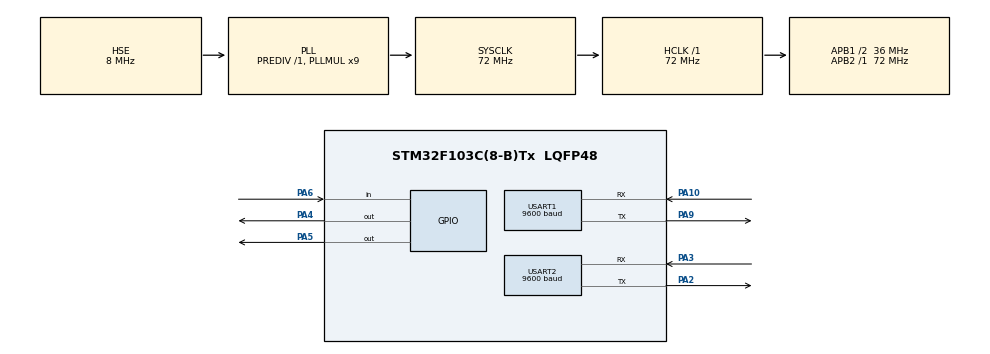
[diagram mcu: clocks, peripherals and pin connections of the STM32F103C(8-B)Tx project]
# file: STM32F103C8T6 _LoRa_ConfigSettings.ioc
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Mcu.Family=STM32F1
Mcu.Name=STM32F103C(8-B)Tx
Mcu.Package=LQFP48
NVIC.PriorityGroup=NVIC_PRIORITYGROUP_4
PA10.Mode=Asynchronous
PA10.Signal=USART1_RX
PA13.Mode=Serial_Wire
PA13.Signal=SYS_JTMS-SWDIO
PA14.Mode=Serial_Wire
PA14.Signal=SYS_JTCK-SWCLK
PA2.Mode=Asynchronous
PA2.Signal=USART2_TX
PA3.Mode=Asynchronous
PA3.Signal=USART2_RX
PA4.Signal=GPIO_Output
PA5.Signal=GPIO_Output
PA6.Signal=GPIO_Input
PA9.Mode=Asynchronous
PA9.Signal=USART1_TX
PD0-OSC_IN.Mode=HSE-External-Oscillator
PD0-OSC_IN.Signal=RCC_OSC_IN
PD1-OSC_OUT.Mode=HSE-External-Oscillator
PD1-OSC_OUT.Signal=RCC_OSC_OUT
ProjectManager.HeapSize=0x200
ProjectManager.StackSize=0x400
ProjectManager.TargetToolchain=Makefile
RCC.AHBFreq_Value=72000000
RCC.APB1CLKDivider=RCC_HCLK_DIV2
RCC.APB1Freq_Value=36000000
RCC.APB1TimFreq_Value=72000000
RCC.APB2Freq_Value=72000000
RCC.APB2TimFreq_Value=72000000
RCC.HCLKFreq_Value=72000000
RCC.PLLMUL=RCC_PLL_MUL9
RCC.PLLSourceVirtual=RCC_PLLSOURCE_HSE
RCC.SYSCLKFreq_VALUE=72000000
RCC.SYSCLKSource=RCC_SYSCLKSOURCE_PLLCLK
RCC.USBFreq_Value=72000000
USART1.BaudRate=9600
USART1.VirtualMode=VM_ASYNC
USART2.BaudRate=9600
USART2.VirtualMode=VM_ASYNC
board=custom

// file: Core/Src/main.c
/* USER CODE BEGIN Header */
/**
  ******************************************************************************
  * @file           : main.c
  * @brief          : Main program body
  ******************************************************************************
  * @attention
  *
  * Copyright (c) 2024 STMicroelectronics.
  * All rights reserved.
  *
  * This software is licensed under terms that can be found in the LICENSE file
  * in the root directory of this software component.
  * If no LICENSE file comes with this software, it is provided AS-IS.
  *
  ******************************************************************************
  */
/* USER CODE END Header */
#include "main.h"
#include <stdlib.h>

/* USER CODE BEGIN Includes */
#include "TUFAN_LoRa_E32_Config.h"

/* USER CODE END Includes */

UART_HandleTypeDef huart1;
UART_HandleTypeDef huart2;

void SystemClock_Config(void);
static void MX_GPIO_Init(void);
static void MX_USART2_UART_Init(void);
static void MX_USART1_UART_Init(void);

int main(void)
{
  /* USER CODE BEGIN 1 */
  struct CONFIG config;
  config.HEAD = SET_CFG_PWR_DWN_SAVE;
  config.ADDH = 0;
  config.ADDL = 0x1E;
  config.CHAN = 0x17;
  config.SPED.AirDataRate = AIR_DATA_RATE_010_24;
  config.SPED.UartBaudRate = UART_BPS_9600;
  config.SPED.UartParity = UART_PARITY_NONE;
  config.OPTION.FEC = FEC_1_ON;
  config.OPTION.FixedTransmission = FT_FIXED_TRANSMISSION;
  config.OPTION.IODriveMode = IO_D_MODE_PUSH_PULLS_PULL_UPS;
  config.OPTION.WirelessWakeupTime = WAKE_UP_250;
  config.OPTION.TransmissionPower = POWER_30;

  /* USER CODE END 1 */

  /* MCU Configuration--------------------------------------------------------*/

  /* Reset of all peripherals, Initializes the Flash interface and the Systick. */
  HAL_Init();

  /* Configure the system clock */
  SystemClock_Config();

  /* Initialize all configured peripherals */
  MX_GPIO_Init();
  MX_USART2_UART_Init();
  MX_USART1_UART_Init();

  /* Infinite loop */
  while (1)
  {

    /* USER CODE BEGIN 3 */

    //HAL_UART_Receive(&huart2, receivedConfig, 64, 1);
    /*
    sendFixedMessage(&huart2, 0x0, 0x1D, 0x17, 150);
    HAL_Delay(10);
    sendFixedMessage(&huart2, 0x0, 0x1D, 0x17, ';');
    HAL_Delay(10);
    sendFixedMessage(&huart2, 0x0, 0x1D, 0x17, 250);
    HAL_Delay(10);
    sendFixedMessage(&huart2, 0x0, 0x1D, 0x17, ';');
    HAL_Delay(1000);
    */
    receiveMessage(&huart2);
    HAL_Delay(100);

    /*
   HAL_UART_Transmit(&huart2, pHEAD, sizeof(HEAD), 1);
   HAL_UART_Transmit(&huart2, pADDH, sizeof(ADDH), 1);
   HAL_UART_Transmit(&huart2, pADDL, sizeof(ADDL), 1);
   HAL_UART_Transmit(&huart2, pSPED, sizeof(SPED), 1);
   HAL_UART_Transmit(&huart2, pCHAN, sizeof(CHAN), 1);
   HAL_UART_Transmit(&huart2, pOPTION, sizeof(OPTION), 1);
   HAL_Delay(1000);
  */
 /*
    HAL_UART_Transmit(&huart2, pADDH, sizeof(ADDH), 1);
    HAL_UART_Transmit(&huart2, pADDL, sizeof(ADDL), 1);
    HAL_UART_Transmit(&huart2, pCHAN, sizeof(CHAN), 1);
    HAL_UART_Transmit(&huart2, pMSG, sizeof(MSG), 1);
    HAL_Delay(1000);
    MSG++;
  */

  }
  /* USER CODE END 3 */
}

void SystemClock_Config(void)
{
  RCC_OscInitTypeDef RCC_OscInitStruct = {0};
  RCC_ClkInitTypeDef RCC_ClkInitStruct = {0};

  /** Initializes the RCC Oscillators according to the specified parameters
  * in the RCC_OscInitTypeDef structure.
  */
  RCC_OscInitStruct.OscillatorType = RCC_OSCILLATORTYPE_HSE;
  RCC_OscInitStruct.HSEState = RCC_HSE_ON;
  RCC_OscInitStruct.HSEPredivValue = RCC_HSE_PREDIV_DIV1;
  RCC_OscInitStruct.HSIState = RCC_HSI_ON;
  RCC_OscInitStruct.PLL.PLLState = RCC_PLL_ON;
  RCC_OscInitStruct.PLL.PLLSource = RCC_PLLSOURCE_HSE;
  RCC_OscInitStruct.PLL.PLLMUL = RCC_PLL_MUL9;
  if (HAL_RCC_OscConfig(&RCC_OscInitStruct) != HAL_OK)
  {
    Error_Handler();
  }

  /** Initializes the CPU, AHB and APB buses clocks
  */
  RCC_ClkInitStruct.ClockType = RCC_CLOCKTYPE_HCLK|RCC_CLOCKTYPE_SYSCLK
                              |RCC_CLOCKTYPE_PCLK1|RCC_CLOCKTYPE_PCLK2;
  RCC_ClkInitStruct.SYSCLKSource = RCC_SYSCLKSOURCE_PLLCLK;
  RCC_ClkInitStruct.AHBCLKDivider = RCC_SYSCLK_DIV1;
  RCC_ClkInitStruct.APB1CLKDivider = RCC_HCLK_DIV2;
  RCC_ClkInitStruct.APB2CLKDivider = RCC_HCLK_DIV1;

  if (HAL_RCC_ClockConfig(&RCC_ClkInitStruct, FLASH_LATENCY_2) != HAL_OK)
  {
    Error_Handler();
  }
}

static void MX_USART1_UART_Init(void)
{

  huart1.Instance = USART1;
  huart1.Init.BaudRate = 9600;
  huart1.Init.WordLength = UART_WORDLENGTH_8B;
  huart1.Init.StopBits = UART_STOPBITS_1;
  huart1.Init.Parity = UART_PARITY_NONE;
  huart1.Init.Mode = UART_MODE_TX_RX;
  huart1.Init.HwFlowCtl = UART_HWCONTROL_NONE;
  huart1.Init.OverSampling = UART_OVERSAMPLING_16;
  if (HAL_UART_Init(&huart1) != HAL_OK)
  {
    Error_Handler();
  }

}

static void MX_USART2_UART_Init(void)
{

  huart2.Instance = USART2;
  huart2.Init.BaudRate = 9600;
  huart2.Init.WordLength = UART_WORDLENGTH_8B;
  huart2.Init.StopBits = UART_STOPBITS_1;
  huart2.Init.Parity = UART_PARITY_NONE;
  huart2.Init.Mode = UART_MODE_TX_RX;
  huart2.Init.HwFlowCtl = UART_HWCONTROL_NONE;
  huart2.Init.OverSampling = UART_OVERSAMPLING_16;
  if (HAL_UART_Init(&huart2) != HAL_OK)
  {
    Error_Handler();
  }

}

static void MX_GPIO_Init(void)
{
  GPIO_InitTypeDef GPIO_InitStruct = {0};

  /* GPIO Ports Clock Enable */
  __HAL_RCC_GPIOD_CLK_ENABLE();
  __HAL_RCC_GPIOA_CLK_ENABLE();

  /*Configure GPIO pin Output Level */
  HAL_GPIO_WritePin(GPIOA, GPIO_PIN_4|GPIO_PIN_5, GPIO_PIN_RESET);

  /*Configure GPIO pins : PA4 PA5 */
  GPIO_InitStruct.Pin = GPIO_PIN_4|GPIO_PIN_5;
  GPIO_InitStruct.Mode = GPIO_MODE_OUTPUT_PP;
  GPIO_InitStruct.Pull = GPIO_NOPULL;
  GPIO_InitStruct.Speed = GPIO_SPEED_FREQ_LOW;
  HAL_GPIO_Init(GPIOA, &GPIO_InitStruct);

  /*Configure GPIO pin : PA6 */
  GPIO_InitStruct.Pin = GPIO_PIN_6;
  GPIO_InitStruct.Mode = GPIO_MODE_INPUT;
  GPIO_InitStruct.Pull = GPIO_NOPULL;
  HAL_GPIO_Init(GPIOA, &GPIO_InitStruct);

}

void Error_Handler(void)
{
  __disable_irq();
  while (1)
  {
  }
}
